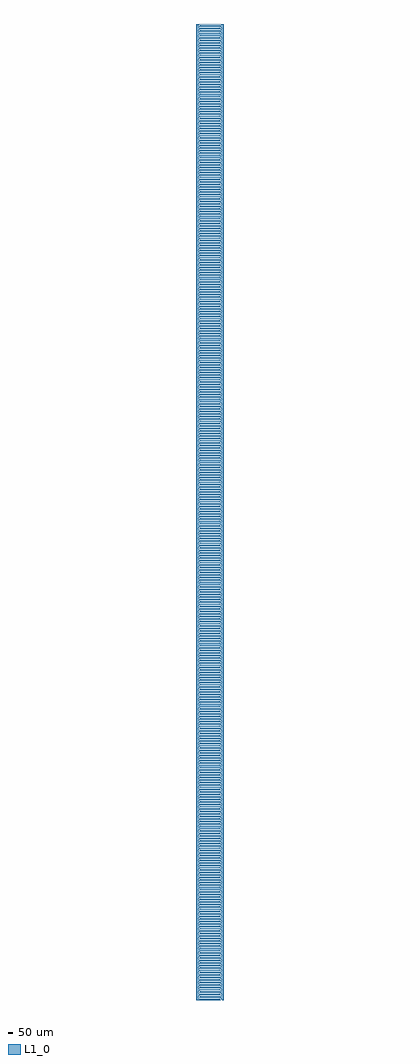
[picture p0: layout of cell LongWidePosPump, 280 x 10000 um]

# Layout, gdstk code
from math import pi, radians
import gdstk
lib = gdstk.Library(unit=1e-6, precision=1e-09)
def P(c, l, *ps):  # polygons
    for p in ps: c.add(gdstk.Polygon(p, *l))
L1_0 = (1, 0)

widepositiveelectrode = lib.new_cell('WidePositiveElectrode')
P(widepositiveelectrode, L1_0, [(140,-17.5),(140,7.5),(-140,7.5),(-140,-17.5),(-127.5,-17.5),(-105,5),(120,5),(110,-5),(-100,-5),(-112.5,-17.5)])

widepositiveelectrodepai = lib.new_cell('WidePositiveElectrodePair')
widepositiveelectrodepai.add(gdstk.Reference(widepositiveelectrode, (0,12.5)))
widepositiveelectrodepai.add(gdstk.Reference(widepositiveelectrode, (0,-12.5), rotation=pi, x_reflection=True))

longwidepospump = lib.new_cell('LongWidePosPump')
r = gdstk.Reference(widepositiveelectrodepai, (0,-5000)); r.repetition = gdstk.Repetition(1, 200, v1=(0,0), v2=(0,50)); longwidepospump.add(r)

lib.write_gds('LongWidePosPump.gds')
